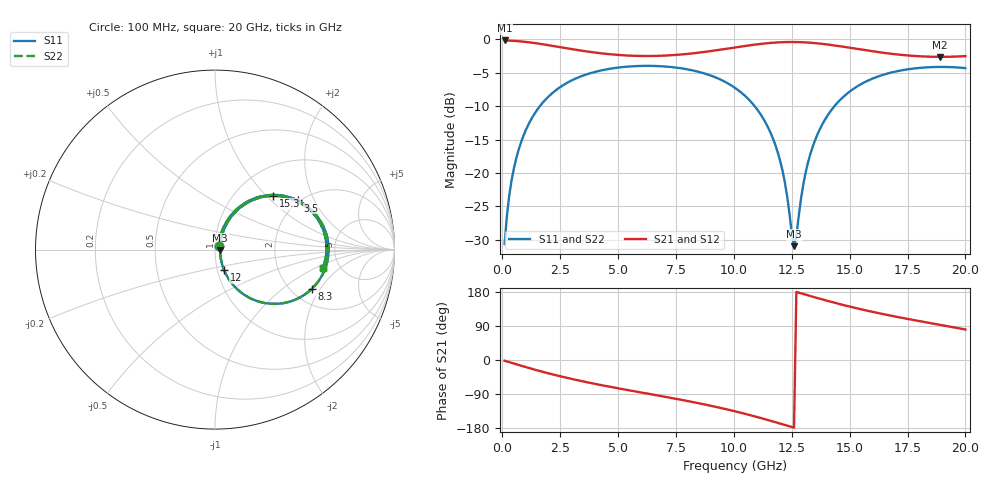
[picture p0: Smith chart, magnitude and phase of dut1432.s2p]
! Touchstone file exported from HFSS 2026.1.0
!  File:  C:/ffzhzh/LocalFiles/Ansys_Project_Files/temp_train_TSV_RDL_1432_1783356037_50076.aedt
!  Generated:  12:55:49 AM Jul  7, 2026
!  Design:  TSV_RDL
!  Project:  temp_train_TSV_RDL_1432_1783356037_50076
! Variables:
!  h_bsmrdl = 3.2um
!  h_ox = 20um
!  h_rdl = 5um
!  h_sub = 85.49um
!  h_tmrdl = 5.84um
!  h_tsv = 85.49um
!  h_via = 3um
!  l_bsmrdl = 220.92um
!  l_sub = 4838.51um
!  l_tmrdl = 915.91um
!  m_sub = 200um
!  pitch = 58.44um
!  r_tsv = 4.61um
!  s_tmrdl = 10um
!  w_bsmrdl = 18.67um
!  w_sub = 500um
!  w_tmrdl = 18.7um
!  x_tsv_center1 = 925.26um
!  x_tsv_center2 = 1164.85um
!  x_tsv_center3 = 2099.46um
!  x_tsv_center4 = 2339.05um
!  x_tsv_center5 = 3273.66um
!  x_tsv_center6 = 3513.25um
# GHz S MA R 50.000000
! Terminal data exported
! Port[1] = TM_RDL1_1_T1
! Port[2] = TM_RDL5_1_T1
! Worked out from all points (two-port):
!   200 points, 100 MHz to 20 GHz, reference 50 ohm
!   highest |S21| = -0.17 dB at 100 MHz (marker M1); lowest = -2.6 dB at 18.9 GHz (marker M2)
!   |S21| within 3 dB of the highest: start of sweep to end of sweep
!   lowest |S11| = -30.9 dB at 12.6 GHz (marker M3), VSWR 1.06, Z = 52.9 - j0.184 ohm
!   |S11| at or under -10 dB: start of sweep to 1.624 GHz; 10.9 GHz to 14.35 GHz (3.447 GHz wide, 27.3 % of centre)
!   |S22| runs from -31.0 to -4.0 dB; largest |S21 - S12| = 1.7e-14
!   S11 on the Smith chart (normalised r, x): 100 MHz: 1.04, +0.04; 3.5 GHz: 1.95, +1.50; 8.3 GHz: 2.53, -1.68; 12 GHz: 1.08, -0.25; 15.3 GHz: 1.47, +1.10; 20 GHz: 3.70, -1.19
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0.1  0.0294 46.7  0.9803 -1.9  0.9803 -1.9  0.0294 46.7
! Gamma 0 0 0 0
! Port Impedance 50 0 50 0
0.3  0.06786 66.7  0.9774 -5.7  0.9774 -5.7  0.06786 66.7
0.5  0.1082 69.3  0.9732 -9.4  0.9732 -9.4  0.1082 69.3
1.1  0.2252 64.0  0.952 -20.2  0.952 -20.2  0.2252 64.0
2.1  0.3878 49.6  0.8974 -36.8  0.8974 -36.8  0.3878 49.6
3.5  0.5364 30.7  0.8184 -56.7  0.8184 -56.7  0.5364 30.7
5.1  0.6173 12.3  0.7618 -75.8  0.7618 -75.8  0.6173 12.3
6.8  0.6295 -5.8  0.7527 -94.6  0.7527 -94.6  0.6295 -5.8
8.3  0.5813 -22.2  0.7877 -111.8  0.7877 -111.8  0.5813 -22.2
10.1  0.4275 -44.8  0.8717 -136.1  0.8717 -136.1  0.4275 -44.8
11.2  0.2673 -59.6  0.9254 -153.7  0.9254 -153.7  0.2673 -59.7
12  0.1232 -66.1  0.9499 -167.7  0.9499 -167.7  0.1232 -66.1
12.3  0.06748 -59.8  0.9538 -173.1  0.9538 -173.1  0.06747 -59.8
12.6  0.02838 -3.5  0.9544 -178.5  0.9544 -178.5  0.02834 -3.5
12.7  0.03358 30.8  0.9539 179.6  0.9539 179.6  0.03355 30.9
13  0.08217 62.9  0.95 174.2  0.95 174.2  0.08215 62.9
13.4  0.1562 65.7  0.94 167.1  0.94 167.1  0.1562 65.7
14.2  0.2938 57.3  0.9071 153.5  0.9071 153.5  0.2937 57.3
15.3  0.4415 42.7  0.8489 136.6  0.8489 136.6  0.4415 42.7
16.7  0.5586 25.6  0.783 118.0  0.783 118.0  0.5585 25.6
18.9  0.6215 1.9  0.7393 92.8  0.7393 92.8  0.6214 1.9
20  0.6085 -9.6  0.7489 80.5  0.7489 80.5  0.6085 -9.6
